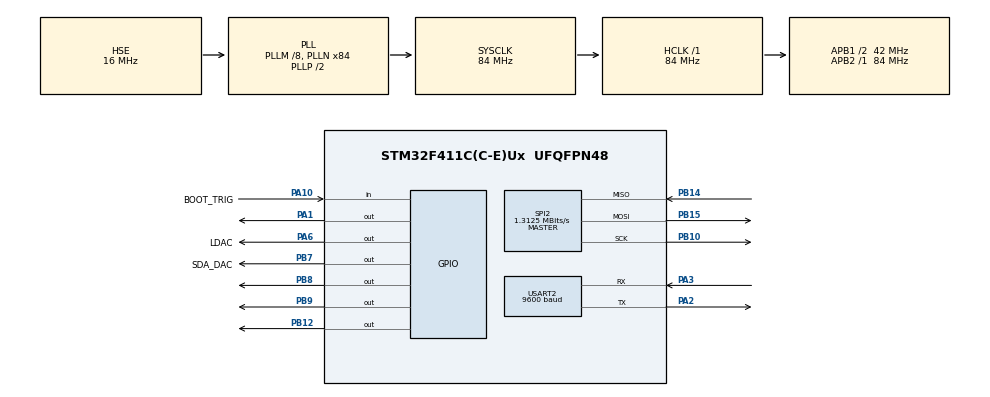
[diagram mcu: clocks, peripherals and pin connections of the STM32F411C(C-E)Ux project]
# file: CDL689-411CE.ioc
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Dma.Request0=USART2_TX
Dma.USART2_TX.0.Direction=DMA_MEMORY_TO_PERIPH
Dma.USART2_TX.0.FIFOMode=DMA_FIFOMODE_ENABLE
Dma.USART2_TX.0.FIFOThreshold=DMA_FIFO_THRESHOLD_FULL
Dma.USART2_TX.0.Instance=DMA1_Stream6
Dma.USART2_TX.0.MemBurst=DMA_MBURST_SINGLE
Dma.USART2_TX.0.MemDataAlignment=DMA_MDATAALIGN_BYTE
Dma.USART2_TX.0.MemInc=DMA_MINC_ENABLE
Dma.USART2_TX.0.Mode=DMA_NORMAL
Dma.USART2_TX.0.PeriphBurst=DMA_PBURST_SINGLE
Dma.USART2_TX.0.PeriphDataAlignment=DMA_PDATAALIGN_BYTE
Dma.USART2_TX.0.PeriphInc=DMA_PINC_DISABLE
Dma.USART2_TX.0.Priority=DMA_PRIORITY_HIGH
FREERTOS.Tasks01=defaultTask,24,128,StartDefaultTask,Default,NULL,Dynamic,NULL,NULL;imuDataTask,8,128,startImuDataTask,Default,NULL,Dynamic,NULL,NULL
FREERTOS.Timers01=streamTimer,streamTimerCallback,osTimerPeriodic,Default,NULL,Dynamic,NULL;utilTimer,utilTimerCallback,osTimerPeriodic,Default,NULL,Dynamic,NULL
Mcu.Family=STM32F4
Mcu.Name=STM32F411C(C-E)Ux
Mcu.Package=UFQFPN48
NVIC.DMA1_Stream6_IRQn=true\:5\:0\:true\:false\:true\:true\:false\:true
NVIC.PriorityGroup=NVIC_PRIORITYGROUP_4
NVIC.SPI2_IRQn=true\:0\:0\:false\:false\:true\:false\:true\:true
NVIC.TIM1_UP_TIM10_IRQn=true\:0\:0\:false\:false\:true\:false\:false\:true
NVIC.TIM2_IRQn=true\:1\:0\:true\:false\:true\:false\:true\:true
NVIC.TimeBase=TIM1_UP_TIM10_IRQn
NVIC.TimeBaseIP=TIM1
NVIC.USART2_IRQn=true\:5\:0\:true\:false\:true\:false\:true\:true
PA1.Signal=GPIO_Output
PA10.GPIO_Label=BOOT_TRIG
PA10.GPIO_PuPd=GPIO_PULLUP
PA10.Signal=GPIO_Input
PA2.Mode=Asynchronous
PA2.Signal=USART2_TX
PA3.Mode=Asynchronous
PA3.Signal=USART2_RX
PA6.GPIO_Label=LDAC
PA6.Signal=GPIO_Output
PB10.Mode=Full_Duplex_Master
PB10.Signal=SPI2_SCK
PB12.PinState=GPIO_PIN_SET
PB12.Signal=GPIO_Output
PB14.Mode=Full_Duplex_Master
PB14.Signal=SPI2_MISO
PB15.Mode=Full_Duplex_Master
PB15.Signal=SPI2_MOSI
PB7.GPIO_Label=SDA_DAC
PB7.Signal=GPIO_Output
PB8.Signal=GPIO_Output
PB9.Signal=GPIO_Output
PH0\ -\ OSC_IN.Mode=HSE-External-Oscillator
PH0\ -\ OSC_IN.Signal=RCC_OSC_IN
PH1\ -\ OSC_OUT.Mode=HSE-External-Oscillator
PH1\ -\ OSC_OUT.Signal=RCC_OSC_OUT
ProjectManager.HeapSize=0x200
ProjectManager.StackSize=0x400
ProjectManager.TargetToolchain=STM32CubeIDE
RCC.48MHZClocksFreq_Value=42000000
RCC.AHBFreq_Value=84000000
RCC.APB1CLKDivider=RCC_HCLK_DIV2
RCC.APB1Freq_Value=42000000
RCC.APB1TimFreq_Value=84000000
RCC.APB2Freq_Value=84000000
RCC.APB2TimFreq_Value=84000000
RCC.CortexFreq_Value=84000000
RCC.HCLKFreq_Value=84000000
RCC.HSE_VALUE=16000000
RCC.HSI_VALUE=16000000
RCC.LSE_VALUE=32768
RCC.PLLM=8
RCC.PLLN=84
RCC.PLLSourceVirtual=RCC_PLLSOURCE_HSE
RCC.SYSCLKFreq_VALUE=84000000
RCC.SYSCLKSource=RCC_SYSCLKSOURCE_PLLCLK
RCC.VCOOutputFreq_Value=168000000
SPI2.BaudRatePrescaler=SPI_BAUDRATEPRESCALER_32
SPI2.CLKPhase=SPI_PHASE_2EDGE
SPI2.CLKPolarity=SPI_POLARITY_HIGH
SPI2.CalculateBaudRate=1.3125 MBits/s
SPI2.Direction=SPI_DIRECTION_2LINES
SPI2.Mode=SPI_MODE_MASTER
SPI2.VirtualType=VM_MASTER
TIM2.AutoReloadPreload=TIM_AUTORELOAD_PRELOAD_ENABLE
TIM2.Period=10000
TIM2.Prescaler=84
USART2.BaudRate=9600
USART2.OverSampling=UART_OVERSAMPLING_16
USART2.VirtualMode=VM_ASYNC
VP_FREERTOS_VS_CMSIS_V2.Mode=CMSIS_V2
VP_SYS_VS_tim1.Mode=TIM1
VP_TIM2_VS_ClockSourceINT.Mode=Internal
board=custom

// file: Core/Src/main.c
/* USER CODE BEGIN Header */
/**
  ******************************************************************************
  * @file           : main.c
  * @brief          : Main program body
  ******************************************************************************
  * @attention
  *
  * <h2><center>&copy; Copyright (c) 2022 STMicroelectronics.
  * All rights reserved.</center></h2>
  *
  * This software component is licensed by ST under BSD 3-Clause license,
  * the "License"; You may not use this file except in compliance with the
  * License. You may obtain a copy of the License at:
  *                        opensource.org/licenses/BSD-3-Clause
  *
  ******************************************************************************
  */
/* USER CODE END Header */
#include "main.h"
#include "cmsis_os.h"

/* USER CODE BEGIN Includes */
#include <stdbool.h>
#include <string.h>
#include "Modbus.h"

/* USER CODE END Includes */

/* USER CODE BEGIN PD */
#define STM32_UUID ((uint32_t *)0x1FFF7A10)
#define BYTES_PER_SAMPLE	24
/* USER CODE END PD */

/* USER CODE BEGIN PM */

typedef enum
{
	/* State machine's initial state. */
	IMU_STATE_INIT=0,
    IMU_STATE_IDLE,
	IMU_STATE_WAITING,
	IMU_STATE_READ_REG,
	IMU_STATE_READ_REG_COMPLETE,
	IMU_STATE_WRITE_REG,
	IMU_STATE_WRITE_REG_COMPLETE
} IMU_STATES;

/* USER CODE END PM */

SPI_HandleTypeDef hspi2;

TIM_HandleTypeDef htim2;

UART_HandleTypeDef huart2;
DMA_HandleTypeDef hdma_usart2_tx;

/* Definitions for defaultTask */
osThreadId_t defaultTaskHandle;
const osThreadAttr_t defaultTask_attributes = {
  .name = "defaultTask",
  .priority = (osPriority_t) osPriorityNormal,
  .stack_size = 128 * 4
};
/* Definitions for imuDataTask */
osThreadId_t imuDataTaskHandle;
const osThreadAttr_t imuDataTask_attributes = {
  .name = "imuDataTask",
  .priority = (osPriority_t) osPriorityLow,
  .stack_size = 128 * 4
};
/* Definitions for streamTimer */
osTimerId_t streamTimerHandle;
const osTimerAttr_t streamTimer_attributes = {
  .name = "streamTimer"
};
/* Definitions for utilTimer */
osTimerId_t utilTimerHandle;
const osTimerAttr_t utilTimer_attributes = {
  .name = "utilTimer"
};
/* USER CODE BEGIN PV */
bool spiBusy = false;
volatile bool sampleReady = false;
volatile int bytesToRead;
uint16_t streamTimerPeriod_uS = 1000;
uint8_t spiTxBuffer[32];
uint8_t spiRxBuffer[32];
modbusHandler_t ModbusH;
uint16_t ModbusData[128];
uint8_t uartData[32768];
uint8_t newUartData[32768];
uint8_t frameCounter = 0;
uint16_t samplesPerFrame = 1;
uint16_t currentSample = 0;
bool streaming = false;
bool uartDataReady = false;
uint16_t uartDataLength = 0;
/* USER CODE END PV */

void SystemClock_Config(void);
static void MX_GPIO_Init(void);
static void MX_DMA_Init(void);
static void MX_SPI2_Init(void);
static void MX_USART2_UART_Init(void);
static void MX_TIM2_Init(void);
void StartDefaultTask(void *argument);
void startImuDataTask(void *argument);
void streamTimerCallback(void *argument);
void utilTimerCallback(void *argument);

/* USER CODE BEGIN 0 */

/**
 * Function to perform jump to system memory boot from user application
 *
 * Call function when you want to jump to system memory
 */
void JumpToBootloader(void) {
	void (*SysMemBootJump)(void);

	/**
	 * Step: Set system memory address.
	 *
	 *       For STM32F401C, system memory is on 0x1FFF 0000
	 *       For other families, check AN2606 document
	 */
	volatile uint32_t addr = 0x1FFF0000;

	/**
	 * Step: Disable RCC, set it to default (after reset) settings
	 *       Internal clock, no PLL, etc.
	 */
#if defined(USE_HAL_DRIVER)
	HAL_RCC_DeInit();
#endif /* defined(USE_HAL_DRIVER) */
#if defined(USE_STDPERIPH_DRIVER)
	RCC_DeInit();
#endif /* defined(USE_STDPERIPH_DRIVER) */

	/**
	 * Step: Disable systick timer and reset it to default values
	 */
	SysTick->CTRL = 0;
	SysTick->LOAD = 0;
	SysTick->VAL = 0;

	/**
	 * Step: Disable all interrupts
	 */
	__disable_irq();

	 NVIC_SystemReset(); //forget remapping - these seems to work fine.

	/**
	 * Step: Remap system memory to address 0x0000 0000 in address space
	 *       For each family registers may be different.
	 *       Check reference manual for each family.
	 *
	 *       For STM32F4xx, MEMRMP register in SYSCFG is used (bits[1:0])
	 *       For STM32F0xx, CFGR1 register in SYSCFG is used (bits[1:0])
	 *       For others, check family reference manual
	 */
	//Remap by hand... {

#if defined(STM32F4)
	SYSCFG->MEMRMP = 0x01;
#endif
#if defined(STM32F0)
	SYSCFG->CFGR1 = 0x01;
#endif
	//} ...or if you use HAL drivers
	//__HAL_SYSCFG_REMAPMEMORY_SYSTEMFLASH();	//Call HAL macro to do this for you

	/**
	 * Step: Set jump memory location for system memory
	 *       Use address with 4 bytes offset which specifies jump location where program starts
	 */
	SysMemBootJump = (void (*)(void)) (*((uint32_t *)(addr + 4)));

	/**
	 * Step: Set main stack pointer.
	 *       This step must be done last otherwise local variables in this function
	 *       don't have proper value since stack pointer is located on different position
	 *
	 *       Set direct address location which specifies stack pointer in SRAM location
	 */
	__set_MSP(*(uint32_t *)addr);

	/**
	 * Step: Actually call our function to jump to set location
	 *       This will start system memory execution
	 */
	SysMemBootJump();

	/**
	 * Step: Connect USB<->UART converter to dedicated USART pins and test
	 *       and test with bootloader works with STM32 Flash Loader Demonstrator software
	 */
}

#define TRIGGER_PIN (10)

static void VectorBase_Config(void)
{
  /* The constant array with vectors of the vector table is declared externally in the
   * c-startup code.
   */
  extern const unsigned long g_pfnVectors[];

  /* Remap the vector table to where the vector table is located for this program. */
  SCB->VTOR = (unsigned long)&g_pfnVectors[0];
}

/* USER CODE END 0 */

int main(void)
{
  /* USER CODE BEGIN 1 */
	VectorBase_Config();

//	//look at the AUX pin.  If low for a certain number of samples, then enter boot loader mode.
//	// Enable the GPIOA peripheral in 'RCC_AHBENR'.
//	RCC->AHB1ENR |= RCC_AHB1ENR_GPIOAEN;
//	GPIOA->PUPDR  |=  (0x1 << (TRIGGER_PIN*2));
//	  long int bootCount = 0;
//	  long int bootTriggerCount = 0;
//	  for(bootCount = 0; bootCount < 10000000; bootCount++){
//		  uint32_t idr_val = GPIOA->IDR;
//		  if (idr_val & (1 << TRIGGER_PIN)) {
//			  bootTriggerCount++;
//		  }
//	  }
//	  if(bootTriggerCount < 250000){	//give it some tolerance for noise
//		  JumpToBootloader();
//	  }

  /* USER CODE END 1 */

  /* MCU Configuration--------------------------------------------------------*/

  /* Reset of all peripherals, Initializes the Flash interface and the Systick. */
  HAL_Init();

  /* Configure the system clock */
  SystemClock_Config();

  /* Initialize all configured peripherals */
  MX_GPIO_Init();
  MX_DMA_Init();
  MX_SPI2_Init();
  MX_USART2_UART_Init();
  MX_TIM2_Init();

  /* Init scheduler */
  osKernelInitialize();

  /* Create the timer(s) */
  /* creation of streamTimer */
  streamTimerHandle = osTimerNew(streamTimerCallback, osTimerPeriodic, NULL, &streamTimer_attributes);

  /* creation of utilTimer */
  utilTimerHandle = osTimerNew(utilTimerCallback, osTimerPeriodic, NULL, &utilTimer_attributes);

  /* Create the thread(s) */
  /* creation of defaultTask */
  defaultTaskHandle = osThreadNew(StartDefaultTask, NULL, &defaultTask_attributes);

  /* creation of imuDataTask */
  imuDataTaskHandle = osThreadNew(startImuDataTask, NULL, &imuDataTask_attributes);

  /* Start scheduler */
  osKernelStart();

  /* We should never get here as control is now taken by the scheduler */
  /* Infinite loop */
  while (1)
  {

  }
}

void SystemClock_Config(void)
{
  RCC_OscInitTypeDef RCC_OscInitStruct = {0};
  RCC_ClkInitTypeDef RCC_ClkInitStruct = {0};

  /** Configure the main internal regulator output voltage
  */
  __HAL_RCC_PWR_CLK_ENABLE();
  __HAL_PWR_VOLTAGESCALING_CONFIG(PWR_REGULATOR_VOLTAGE_SCALE1);
  /** Initializes the RCC Oscillators according to the specified parameters
  * in the RCC_OscInitTypeDef structure.
  */
  RCC_OscInitStruct.OscillatorType = RCC_OSCILLATORTYPE_HSE;
  RCC_OscInitStruct.HSEState = RCC_HSE_ON;
  RCC_OscInitStruct.PLL.PLLState = RCC_PLL_ON;
  RCC_OscInitStruct.PLL.PLLSource = RCC_PLLSOURCE_HSE;
  RCC_OscInitStruct.PLL.PLLM = 8;
  RCC_OscInitStruct.PLL.PLLN = 84;
  RCC_OscInitStruct.PLL.PLLP = RCC_PLLP_DIV2;
  RCC_OscInitStruct.PLL.PLLQ = 4;
  if (HAL_RCC_OscConfig(&RCC_OscInitStruct) != HAL_OK)
  {
    Error_Handler();
  }
  /** Initializes the CPU, AHB and APB buses clocks
  */
  RCC_ClkInitStruct.ClockType = RCC_CLOCKTYPE_HCLK|RCC_CLOCKTYPE_SYSCLK
                              |RCC_CLOCKTYPE_PCLK1|RCC_CLOCKTYPE_PCLK2;
  RCC_ClkInitStruct.SYSCLKSource = RCC_SYSCLKSOURCE_PLLCLK;
  RCC_ClkInitStruct.AHBCLKDivider = RCC_SYSCLK_DIV1;
  RCC_ClkInitStruct.APB1CLKDivider = RCC_HCLK_DIV2;
  RCC_ClkInitStruct.APB2CLKDivider = RCC_HCLK_DIV1;

  if (HAL_RCC_ClockConfig(&RCC_ClkInitStruct, FLASH_LATENCY_2) != HAL_OK)
  {
    Error_Handler();
  }
}

static void MX_SPI2_Init(void)
{

  /* SPI2 parameter configuration*/
  hspi2.Instance = SPI2;
  hspi2.Init.Mode = SPI_MODE_MASTER;
  hspi2.Init.Direction = SPI_DIRECTION_2LINES;
  hspi2.Init.DataSize = SPI_DATASIZE_8BIT;
  hspi2.Init.CLKPolarity = SPI_POLARITY_HIGH;
  hspi2.Init.CLKPhase = SPI_PHASE_2EDGE;
  hspi2.Init.NSS = SPI_NSS_SOFT;
  hspi2.Init.BaudRatePrescaler = SPI_BAUDRATEPRESCALER_32;
  hspi2.Init.FirstBit = SPI_FIRSTBIT_MSB;
  hspi2.Init.TIMode = SPI_TIMODE_DISABLE;
  hspi2.Init.CRCCalculation = SPI_CRCCALCULATION_DISABLE;
  hspi2.Init.CRCPolynomial = 10;
  if (HAL_SPI_Init(&hspi2) != HAL_OK)
  {
    Error_Handler();
  }

}

static void MX_TIM2_Init(void)
{

  TIM_ClockConfigTypeDef sClockSourceConfig = {0};
  TIM_MasterConfigTypeDef sMasterConfig = {0};

  htim2.Instance = TIM2;
  htim2.Init.Prescaler = 84;
  htim2.Init.CounterMode = TIM_COUNTERMODE_UP;
  htim2.Init.Period = 10000;
  htim2.Init.ClockDivision = TIM_CLOCKDIVISION_DIV1;
  htim2.Init.AutoReloadPreload = TIM_AUTORELOAD_PRELOAD_ENABLE;
  if (HAL_TIM_Base_Init(&htim2) != HAL_OK)
  {
    Error_Handler();
  }
  sClockSourceConfig.ClockSource = TIM_CLOCKSOURCE_INTERNAL;
  if (HAL_TIM_ConfigClockSource(&htim2, &sClockSourceConfig) != HAL_OK)
  {
    Error_Handler();
  }
  sMasterConfig.MasterOutputTrigger = TIM_TRGO_RESET;
  sMasterConfig.MasterSlaveMode = TIM_MASTERSLAVEMODE_DISABLE;
  if (HAL_TIMEx_MasterConfigSynchronization(&htim2, &sMasterConfig) != HAL_OK)
  {
    Error_Handler();
  }

}

static void MX_USART2_UART_Init(void)
{

  huart2.Instance = USART2;
  huart2.Init.BaudRate = 9600;
  huart2.Init.WordLength = UART_WORDLENGTH_8B;
  huart2.Init.StopBits = UART_STOPBITS_1;
  huart2.Init.Parity = UART_PARITY_NONE;
  huart2.Init.Mode = UART_MODE_TX_RX;
  huart2.Init.HwFlowCtl = UART_HWCONTROL_NONE;
  huart2.Init.OverSampling = UART_OVERSAMPLING_16;
  if (HAL_UART_Init(&huart2) != HAL_OK)
  {
    Error_Handler();
  }

}

static void MX_DMA_Init(void)
{

  /* DMA controller clock enable */
  __HAL_RCC_DMA1_CLK_ENABLE();

  /* DMA interrupt init */
  /* DMA1_Stream6_IRQn interrupt configuration */
  HAL_NVIC_SetPriority(DMA1_Stream6_IRQn, 5, 0);
  HAL_NVIC_EnableIRQ(DMA1_Stream6_IRQn);

}

static void MX_GPIO_Init(void)
{
  GPIO_InitTypeDef GPIO_InitStruct = {0};

  /* GPIO Ports Clock Enable */
  __HAL_RCC_GPIOH_CLK_ENABLE();
  __HAL_RCC_GPIOA_CLK_ENABLE();
  __HAL_RCC_GPIOB_CLK_ENABLE();

  /*Configure GPIO pin Output Level */
  HAL_GPIO_WritePin(GPIOA, GPIO_PIN_1|LDAC_Pin, GPIO_PIN_RESET);

  /*Configure GPIO pin Output Level */
  HAL_GPIO_WritePin(GPIOB, GPIO_PIN_12, GPIO_PIN_SET);

  /*Configure GPIO pin Output Level */
  HAL_GPIO_WritePin(GPIOB, SDA_DAC_Pin|GPIO_PIN_8|GPIO_PIN_9, GPIO_PIN_RESET);

  /*Configure GPIO pins : PA1 LDAC_Pin */
  GPIO_InitStruct.Pin = GPIO_PIN_1|LDAC_Pin;
  GPIO_InitStruct.Mode = GPIO_MODE_OUTPUT_PP;
  GPIO_InitStruct.Pull = GPIO_NOPULL;
  GPIO_InitStruct.Speed = GPIO_SPEED_FREQ_LOW;
  HAL_GPIO_Init(GPIOA, &GPIO_InitStruct);

  /*Configure GPIO pins : PB12 SDA_DAC_Pin PB8 PB9 */
  GPIO_InitStruct.Pin = GPIO_PIN_12|SDA_DAC_Pin|GPIO_PIN_8|GPIO_PIN_9;
  GPIO_InitStruct.Mode = GPIO_MODE_OUTPUT_PP;
  GPIO_InitStruct.Pull = GPIO_NOPULL;
  GPIO_InitStruct.Speed = GPIO_SPEED_FREQ_LOW;
  HAL_GPIO_Init(GPIOB, &GPIO_InitStruct);

  /*Configure GPIO pin : BOOT_TRIG_Pin */
  GPIO_InitStruct.Pin = BOOT_TRIG_Pin;
  GPIO_InitStruct.Mode = GPIO_MODE_INPUT;
  GPIO_InitStruct.Pull = GPIO_PULLUP;
  HAL_GPIO_Init(BOOT_TRIG_GPIO_Port, &GPIO_InitStruct);

}

/* USER CODE BEGIN 4 */
void HAL_SPI_TxRxCpltCallback(SPI_HandleTypeDef *hspi){
	//Reset CS
	spiBusy = false;
	HAL_GPIO_WritePin(GPIOB, GPIO_PIN_12, GPIO_PIN_SET);	//CS back high

	HAL_GPIO_TogglePin(LDAC_GPIO_Port, LDAC_Pin);	//for debug

	if(streaming){
		if(bytesToRead > 0){
			bytesToRead -= 2;
			HAL_GPIO_WritePin(GPIOB, GPIO_PIN_12, GPIO_PIN_RESET);	//set CS low.  It will be reset in the callback for TX complete.
			HAL_SPI_TransmitReceive_IT(&hspi2, spiTxBuffer + BYTES_PER_SAMPLE - bytesToRead, spiRxBuffer + BYTES_PER_SAMPLE - bytesToRead, 2);
			spiBusy = true;
		}
		else{
			//we've read all the bytes, now send them out from UART if in streaming mode
			//we got a streaming packet of data containing 6 axis values over SPI.  CRC
			//Send it out via UART.
			unsigned int tempOffset = (currentSample * (BYTES_PER_SAMPLE / 2));
			newUartData[tempOffset++] = spiRxBuffer[1];
			newUartData[tempOffset++] = spiRxBuffer[3];

			newUartData[tempOffset++] = spiRxBuffer[5];
			newUartData[tempOffset++] = spiRxBuffer[7];

			newUartData[tempOffset++] = spiRxBuffer[9];
			newUartData[tempOffset++] = spiRxBuffer[11];

			newUartData[tempOffset++] = spiRxBuffer[13];
			newUartData[tempOffset++] = spiRxBuffer[15];

			newUartData[tempOffset++] = spiRxBuffer[17];
			newUartData[tempOffset++] = spiRxBuffer[19];

			newUartData[tempOffset++] = spiRxBuffer[21];
			newUartData[tempOffset++] = spiRxBuffer[23];

			currentSample++;
			if(currentSample >= samplesPerFrame){
				HAL_GPIO_TogglePin(SDA_DAC_GPIO_Port, SDA_DAC_Pin);	//for debug
				//the last sample will also have temperature data
				newUartData[tempOffset++] = spiRxBuffer[25];
				newUartData[tempOffset++] = spiRxBuffer[27];

				newUartData[tempOffset++] = frameCounter;
				//send out the frame via the uart
				uartDataReady = true;
				uartDataLength = tempOffset;
				frameCounter++;
				currentSample = 0;
				HAL_GPIO_TogglePin(SDA_DAC_GPIO_Port, SDA_DAC_Pin);	//for debug
			}

		}
	}
}

////void HAL_TIM_PWM_PulseFinishedCallback(TIM_HandleTypeDef *htim){
//void HAL_TIM_PeriodElapsedCallback(TIM_HandleTypeDef *htim){
//	//if(!spiBusy){
//		//HAL_GPIO_TogglePin(GPIOA, GPIO_PIN_6);
//	//}
//}

/* USER CODE END 4 */

void StartDefaultTask(void *argument)
{
  /* USER CODE BEGIN 5 */
	HAL_GPIO_WritePin(GPIOA, GPIO_PIN_10, GPIO_PIN_SET);	//AUX  high
	HAL_GPIO_WritePin(GPIOB, GPIO_PIN_10, GPIO_PIN_SET);	//SPI Clk high
	osTimerStart(utilTimerHandle, pdMS_TO_TICKS(1000));
  /* Infinite loop */
  for(;;)
  {
    osDelay(1);
  }
  /* USER CODE END 5 */
}

void startImuDataTask(void *argument)
{
  /* USER CODE BEGIN startImuDataTask */
	HAL_StatusTypeDef halStatus;
	IMU_STATES state = IMU_STATE_INIT;
	IMU_STATES nextState = IMU_STATE_IDLE;

	//send out a dummy byte over SPI to get the clock high.  Otherwise, the first real transaction may fail.
	HAL_SPI_Transmit(&hspi2, spiTxBuffer, 1, 1);

  /* Infinite loop */
	for(;;){
		switch(state){
		case IMU_STATE_INIT:
			memset(ModbusData,0,sizeof(ModbusData));
			ModbusH.uiModbusType = SLAVE_RTU;
			ModbusH.port =  &huart2;
			ModbusH.u8id = 1; //slave ID
			ModbusH.u16timeOut = 1000;
			//ModbusH.EN_Port = NULL; // No RS485
			ModbusH.EN_Port = GPIOA; // RS485 Enable
			ModbusH.EN_Pin = GPIO_PIN_1; // RS485 Enable
			ModbusH.u32overTime = 0;
			ModbusH.au16regs = ModbusData;
			ModbusH.u8regsize= sizeof(ModbusData)/sizeof(ModbusData[0]);
			 //Initialize Modbus library
			ModbusInit(&ModbusH);
			//Start capturing traffic on serial Port
			ModbusStart(&ModbusH);

			//every STM32 has a 96bit unique ID stored in flash.  Make it accessible over Modbus.
			ModbusData[122] = ((STM32_UUID[0] & 0xFFFF0000) >> 16);
			ModbusData[123] = ((STM32_UUID[0] & 0x0000FFFF) >> 0);

			ModbusData[124] = ((STM32_UUID[1] & 0xFFFF0000) >> 16);
			ModbusData[125] = ((STM32_UUID[1] & 0x0000FFFF) >> 0);

			ModbusData[126] = ((STM32_UUID[2] & 0xFFFF0000) >> 16);
			ModbusData[127] = ((STM32_UUID[2] & 0x0000FFFF) >> 0);

			state = IMU_STATE_IDLE;
			break;

		case IMU_STATE_IDLE:
			osSemaphoreAcquire(ModbusH.ModBusSphrHandle , portMAX_DELAY);
			if (ModbusData[1] != 0){
				//this is a request to read a register
				state = IMU_STATE_READ_REG;
			}
			else if(ModbusData[2] > 0){
				//this is a request to write a register
				state = IMU_STATE_WRITE_REG;

			}
			else if(ModbusData[10] == 0x69){
				ModbusData[10] = 0;
				spiTxBuffer[0] = 0x80 | 0x22;	//OUTX_L_G
				spiTxBuffer[1] = 0x0;
				spiTxBuffer[2] = 0x80 | 0x23;	//OUTX_H_G
				spiTxBuffer[3] = 0x0;
				spiTxBuffer[4] = 0x80 | 0x24;	//OUTY_L_G
				spiTxBuffer[5] = 0x0;
				spiTxBuffer[6] = 0x80 | 0x25;	//OUTY_H_G
				spiTxBuffer[7] = 0x0;
				spiTxBuffer[8] = 0x80 | 0x26;	//OUTZ_L_G
				spiTxBuffer[9] = 0x0;
				spiTxBuffer[10] = 0x80 | 0x27;	//OUTZ_H_G
				spiTxBuffer[11] = 0x0;

				spiTxBuffer[12] = 0x80 | 0x28;	//OUTX_L_A
				spiTxBuffer[13] = 0x0;
				spiTxBuffer[14] = 0x80 | 0x29;	//OUTX_H_A
				spiTxBuffer[15] = 0x0;
				spiTxBuffer[16] = 0x80 | 0x2A;	//OUTY_L_A
				spiTxBuffer[17] = 0x0;
				spiTxBuffer[18] = 0x80 | 0x2B;	//OUTY_H_A
				spiTxBuffer[19] = 0x0;
				spiTxBuffer[20] = 0x80 | 0x2C;	//OUTZ_L_A
				spiTxBuffer[21] = 0x0;
				spiTxBuffer[22] = 0x80 | 0x2D;	//OUTZ_H_A
				spiTxBuffer[23] = 0x0;
				spiTxBuffer[24] = 0x80 | 0x20;	//Temperature L
				spiTxBuffer[25] = 0x0;
				spiTxBuffer[26] = 0x80 | 0x21;	//Temperature H
				spiTxBuffer[27] = 0x0;
				//start streaming
				frameCounter = 0;
				streaming = true;
				//ModbusEnd(&ModbusH);
				HAL_TIM_Base_Start_IT(&htim2);
			}
			else if(ModbusData[10] == 0x96){
				ModbusData[10] = 0;
				//stop streaming
				//HAL_TIM_PWM_Stop_IT(&htim2, TIM_CHANNEL_1);
				streaming = false;
				HAL_TIM_Base_Stop_IT(&htim2);
				//osTimerStop(streamTimerHandle);
			}
			else if(ModbusData[11] > 0){	//set the timer update rate
				htim2.Instance->ARR = ModbusData[11];
				//htim2.Instance->ARR = 400;
				htim2.Instance->CNT = 0;
				//htim2.Instance->CCR2 = ModbusData[11];
				ModbusData[11] = 0;
			}
			else if(ModbusData[12] > 0){	//set the baud rate which always starts up at 9600

				//as of Jan 2023, the HAL functions for this cause a hard fault in the RTOS
				//so instead, we now just change BRR on the fly using the macros
				huart2.Instance->CR1 &= ~(USART_CR1_UE);
				huart2.Instance->BRR = UART_BRR_SAMPLING16(HAL_RCC_GetPCLK1Freq(), (uint32_t)(ModbusData[12] * 100));
				huart2.Instance->CR1 |= USART_CR1_UE;

				//make sure we are in RX mode
				//HAL_GPIO_WritePin(GPIOA, GPIO_PIN_1, GPIO_PIN_RESET);
//				HAL_UART_Abort_IT(&huart2);
//				HAL_UART_DeInit(&huart2);
//				huart2.Init.BaudRate = (ModbusData[12] * 100);
//
//				huart2.Instance = USART2;
//				huart2.Init.WordLength = UART_WORDLENGTH_8B;
//				huart2.Init.StopBits = UART_STOPBITS_1;
//				huart2.Init.Parity = UART_PARITY_NONE;
//				huart2.Init.Mode = UART_MODE_TX_RX;
//				huart2.Init.HwFlowCtl = UART_HWCONTROL_NONE;
//				huart2.Init.OverSampling = UART_OVERSAMPLING_16;
//
//				if (HAL_UART_Init(&huart2) != HAL_OK){
//					Error_Handler();
//				}
//				//need to call ModbusStart again to receive over UART
				//ModbusStart(&ModbusH);
				ModbusData[12] = 0;
			}
			else if(ModbusData[13] > 0){	//set the number of samples per frame while streaming
				samplesPerFrame = ModbusData[13];

				ModbusData[13] = 0;
			}

			osSemaphoreRelease(ModbusH.ModBusSphrHandle);
			if(uartDataReady){
				uint16_t crc = calcCRC(newUartData, uartDataLength);

				newUartData[uartDataLength++] = (crc & 0x00FF);	//High Byte
				newUartData[uartDataLength++] = ((crc & 0xFF00) >> 8); //Low Byte
				newUartData[uartDataLength++] = 0x55;
				newUartData[uartDataLength++] = 0xAA;
				memcpy(uartData, newUartData, uartDataLength);
				// set RS485 transceiver to transmit mode
				HAL_GPIO_WritePin(GPIOA, GPIO_PIN_1, GPIO_PIN_SET);
				HAL_UART_Transmit_DMA(&huart2, uartData,  uartDataLength);
				uartDataReady = false;
			}
			break;

		case IMU_STATE_WAITING:
			if(!spiBusy){
				state = nextState;
			}
			break;

		case IMU_STATE_READ_REG:
			spiTxBuffer[0] = 0x80 | ModbusData[1];	//read register
			spiTxBuffer[1] = 00;
			HAL_GPIO_WritePin(GPIOB, GPIO_PIN_12, GPIO_PIN_RESET);	//set CS low.  It will be reset in the callback for TX complete.
			halStatus = HAL_SPI_TransmitReceive_IT(&hspi2, spiTxBuffer, spiRxBuffer, 2);
			spiBusy = true;
			state = IMU_STATE_WAITING;
			nextState = IMU_STATE_READ_REG_COMPLETE;
			break;

		case IMU_STATE_READ_REG_COMPLETE:
			osSemaphoreAcquire(ModbusH.ModBusSphrHandle , portMAX_DELAY);
			ModbusData[1] = 0;	//clear out the request
			ModbusData[3] = spiRxBuffer[1];
			state = nextState = IMU_STATE_IDLE;
			osSemaphoreRelease(ModbusH.ModBusSphrHandle);
			break;

		case IMU_STATE_WRITE_REG:
			spiTxBuffer[0] = ModbusData[2];	//write register
			spiTxBuffer[1] = ModbusData[3];
			HAL_GPIO_WritePin(GPIOB, GPIO_PIN_12, GPIO_PIN_RESET);	//set CS low.  It will be reset in the callback for TX complete.
			halStatus = HAL_SPI_TransmitReceive_IT(&hspi2, spiTxBuffer, spiRxBuffer, 2);
			spiBusy = true;
			state = IMU_STATE_WAITING;
			nextState = IMU_STATE_WRITE_REG_COMPLETE;
			break;

		case IMU_STATE_WRITE_REG_COMPLETE:
			osSemaphoreAcquire(ModbusH.ModBusSphrHandle , portMAX_DELAY);
			ModbusData[2] = 0;	//clear out the request
			ModbusData[3] = spiRxBuffer[1];
			state = nextState = IMU_STATE_IDLE;
			osSemaphoreRelease(ModbusH.ModBusSphrHandle);
			break;

		default:
			break;
		}

		osDelay(1);
	}
  /* USER CODE END startImuDataTask */
}

/* streamTimerCallback function */
void streamTimerCallback(void *argument)
{
}

/* utilTimerCallback function */
void utilTimerCallback(void *argument)
{
  /* USER CODE BEGIN utilTimerCallback */
	HAL_GPIO_TogglePin(GPIOB, GPIO_PIN_8);
//	HAL_GPIO_WritePin(GPIOA, GPIO_PIN_1, GPIO_PIN_SET);
//	uint8_t tb[8] = "test\r\n";
//	HAL_UART_Transmit_IT(&huart2, tb, 6);
  /* USER CODE END utilTimerCallback */
}

void HAL_TIM_PeriodElapsedCallback(TIM_HandleTypeDef *htim)
{
  if (htim->Instance == TIM1) {
    HAL_IncTick();
  }
  /* USER CODE BEGIN Callback 1 */
  else if(htim->Instance == TIM2){	//streaming timer
	  HAL_GPIO_TogglePin(SDA_DAC_GPIO_Port, SDA_DAC_Pin);	//for debug
	//go grab some more data
	bytesToRead = BYTES_PER_SAMPLE;
	//for the very last sample in the frame, we need to also grab temp data over SPI
	if(currentSample == samplesPerFrame - 1){
		bytesToRead+=2;
	}
	HAL_GPIO_WritePin(GPIOB, GPIO_PIN_12, GPIO_PIN_RESET); //set CS low.  It will be reset in the callback for TX complete.
	HAL_SPI_TransmitReceive_IT(&hspi2, spiTxBuffer + BYTES_PER_SAMPLE - bytesToRead, spiRxBuffer + BYTES_PER_SAMPLE - bytesToRead, 2);	//kick off two bytes of SPI RX/TX.
	spiBusy = true;
  }
  /* USER CODE END Callback 1 */
}

void Error_Handler(void)
{
  /* USER CODE BEGIN Error_Handler_Debug */
  /* User can add his own implementation to report the HAL error return state */
	//HAL_GPIO_WritePin(GPIOB, GPIO_PIN_9, GPIO_PIN_SET);
  /* USER CODE END Error_Handler_Debug */
}

/************************ (C) COPYRIGHT STMicroelectronics *****END OF FILE****/
